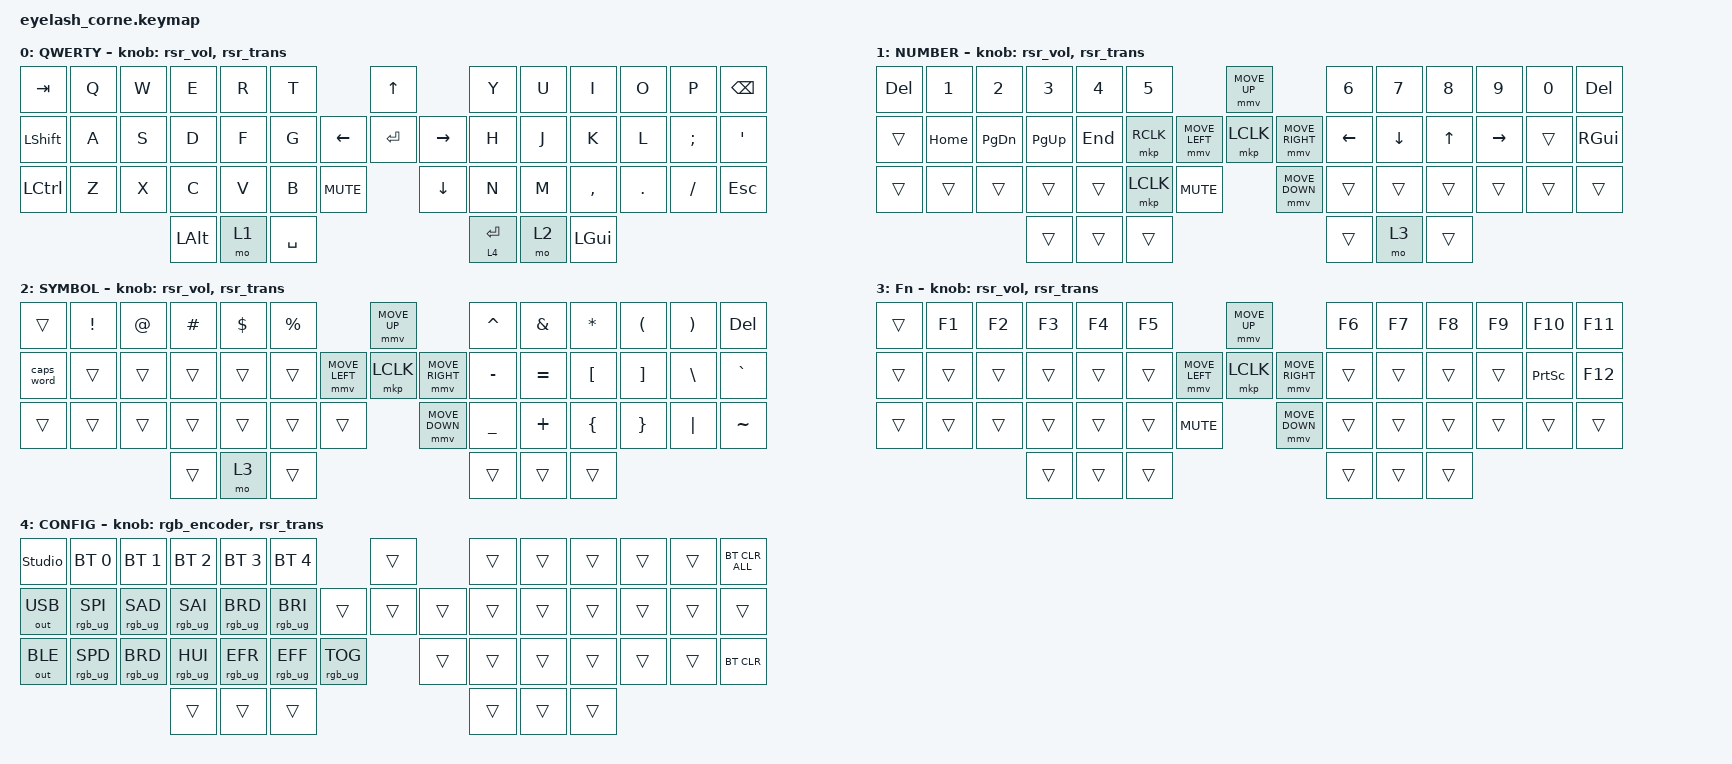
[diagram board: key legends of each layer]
#define ZMK_POINTING_DEFAULT_MOVE_VAL 1200  // 600
#define ZMK_POINTING_DEFAULT_SCRL_VAL 25   // 10

#include <input/processors.dtsi>
#include <zephyr/dt-bindings/input/input-event-codes.h>
#include <behaviors.dtsi>
#include <behaviors/runtime-sensor-rotate.dtsi>
#include <dt-bindings/zmk/bt.h>
#include <dt-bindings/zmk/keys.h>
#include <dt-bindings/zmk/outputs.h>
#include <dt-bindings/zmk/pointing.h>
#include <dt-bindings/zmk/rgb.h>

&soft_off { hold-time-ms = <2000>; };

&lt {
    tapping-term-ms = <300>;
    require-prior-idle-ms = <150>;
    quick-tap-ms = <200>;
};

/ {
    behaviors {
        td0: td0 {
            compatible = "zmk,behavior-tap-dance";
            display-name = "Shift/Caps Lock Tap Dance";
            #binding-cells = <0>;
            bindings = <&kp LEFT_SHIFT>, <&none>, <&none>, <&kp CAPS>;
        };

        rsr_vol: rsr_vol {
            compatible = "zmk,behavior-runtime-sensor-rotate";
            #sensor-binding-cells = <0>;
            tap-ms = <5>;
            cw-binding = <&kp C_VOL_UP>;
            ccw-binding = <&kp C_VOL_DN>;
        };

        rsr_trans: rsr_trans {
            compatible = "zmk,behavior-runtime-sensor-rotate";
            #sensor-binding-cells = <0>;
            tap-ms = <0>;
        };

        rgb_encoder: rgb_encoder {
            compatible = "zmk,behavior-sensor-rotate";
            #sensor-binding-cells = <0>;
            bindings = <&rgb_ug RGB_BRI>, <&rgb_ug RGB_BRD>;
        };
    };

   combos {
        compatible = "zmk,combos";

        softoff {
            bindings = <&soft_off>;
            key-positions = <1 15 29>;
        };
    };

    keymap {
        compatible = "zmk,keymap";

        default_layer {
            display-name = "QWERTY";
            bindings = <
&kp TAB     &kp Q  &kp W  &kp E     &kp R  &kp T                              &kp UP                &kp Y        &kp U  &kp I      &kp O    &kp P     &kp BSPC
&kp LSHIFT  &kp A  &kp S  &kp D     &kp F  &kp G                    &kp LEFT  &kp ENTER  &kp RIGHT  &kp H        &kp J  &kp K      &kp L    &kp SEMI  &kp SQT
&kp LCTRL   &kp Z  &kp X  &kp C     &kp V  &kp B      &kp C_MUTE              &kp DOWN              &kp N        &kp M  &kp COMMA  &kp DOT  &kp FSLH  &kp ESC
                          &kp LALT  &mo 1  &kp SPACE                                                &lt 4 ENTER  &mo 2  &kp LGUI
            >;

            sensor-bindings = <&rsr_vol &rsr_trans>;
        };

        lower_layer {
            display-name = "NUMBER";
            bindings = <
&kp DEL  &kp N1    &kp N2     &kp N3     &kp N4   &kp N5                                   &mmv MOVE_UP                     &kp N6    &kp N7    &kp N8  &kp N9     &kp N0  &kp DEL
&trans   &kp HOME  &kp PG_DN  &kp PG_UP  &kp END  &mkp RCLK                &mmv MOVE_LEFT  &mkp LCLK       &mmv MOVE_RIGHT  &kp LEFT  &kp DOWN  &kp UP  &kp RIGHT  &trans  &kp RGUI
&trans   &trans    &trans     &trans     &trans   &mkp LCLK  &kp C_MUTE                    &mmv MOVE_DOWN                   &trans    &trans    &trans  &trans     &trans  &trans
                              &trans     &trans   &trans                                                                    &trans    &mo 3     &trans
            >;

            sensor-bindings = <&rsr_vol &rsr_trans>;
        };

        raise_layer {
            display-name = "SYMBOL";
            bindings = <
&trans      &kp EXCL  &kp AT  &kp HASH  &kp DLLR  &kp PRCNT                            &mmv MOVE_UP                     &kp CARET  &kp AMPS   &kp ASTRK  &kp LPAR  &kp RPAR  &kp DEL
&caps_word  &trans    &trans  &trans    &trans    &trans               &mmv MOVE_LEFT  &mkp LCLK       &mmv MOVE_RIGHT  &kp MINUS  &kp EQUAL  &kp LBKT   &kp RBKT  &kp BSLH  &kp GRAVE
&trans      &trans    &trans  &trans    &trans    &trans     &trans                    &mmv MOVE_DOWN                   &kp UNDER  &kp PLUS   &kp LBRC   &kp RBRC  &kp PIPE  &kp TILDE
                              &trans    &mo 3     &trans                                                                &trans     &trans     &trans
            >;

            sensor-bindings = <&rsr_vol &rsr_trans>;
        };

        layer_3 {
            display-name = "Fn";
            bindings = <
&trans  &kp F1  &kp F2  &kp F3  &kp F4  &kp F5                                &mmv MOVE_UP                     &kp F6  &kp F7  &kp F8  &kp F9  &kp F10          &kp F11
&trans  &trans  &trans  &trans  &trans  &trans                &mmv MOVE_LEFT  &mkp LCLK       &mmv MOVE_RIGHT  &trans  &trans  &trans  &trans  &kp PRINTSCREEN  &kp F12
&trans  &trans  &trans  &trans  &trans  &trans  &kp C_MUTE                    &mmv MOVE_DOWN                   &trans  &trans  &trans  &trans  &trans           &trans
                        &trans  &trans  &trans                                                                 &trans  &trans  &trans
            >;

            sensor-bindings = <&rsr_vol &rsr_trans>;
        };

        layer_4 {
            bindings = <
&studio_unlock  &bt BT_SEL 0     &bt BT_SEL 1     &bt BT_SEL 2     &bt BT_SEL 3     &bt BT_SEL 4                                &trans          &trans  &trans  &trans  &trans  &trans  &bt BT_CLR_ALL
&out OUT_USB    &rgb_ug RGB_SPI  &rgb_ug RGB_SAD  &rgb_ug RGB_SAI  &rgb_ug RGB_BRD  &rgb_ug RGB_BRI                     &trans  &trans  &trans  &trans  &trans  &trans  &trans  &trans  &trans
&out OUT_BLE    &rgb_ug RGB_SPD  &rgb_ug RGB_BRD  &rgb_ug RGB_HUI  &rgb_ug RGB_EFR  &rgb_ug RGB_EFF  &rgb_ug RGB_TOG            &trans          &trans  &trans  &trans  &trans  &trans  &bt BT_CLR
                                                  &trans           &trans           &trans                                                      &trans  &trans  &trans
            >;

            label = "CONFIG";
            sensor-bindings = <&rgb_encoder &rsr_trans>;
        };
    };
};
